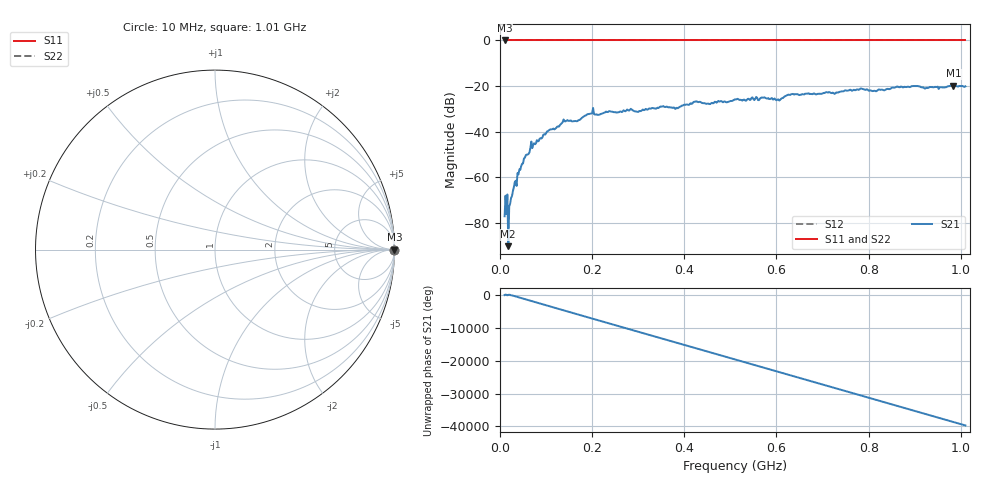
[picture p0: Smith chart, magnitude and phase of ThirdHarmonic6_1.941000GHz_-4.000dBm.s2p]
! 8/16/2025 11:22:47 PM
! C:\ANRITSUVNA\TEMP\TEMP.S2P
! CHANNEL.1
! TR.MEASUREMENT
! RAW.DATA
! RF.CORRECTION.OFF
! AVERAGING.OFF
! IF.BANDWIDTH: 5KHZ
! SWEEPTYPE:  FREQ.SWEEP(Linear)
! Reference Plane Port Info
! PORT:  PORT1  PORT2
! DISTANCE:  0  m  0  m
! TIME:  0  s  0  s
! PHASE.OFFSET:  0  deg.  0  deg.
! LOSS:  0  dB  0  dB
! REF.LOSS:  0  dB  0  dB
! REF.FREQ:  0  Hz  0  Hz
! Power Info
! POWER:  -20  dBm  -20  dBm
! EFF.POWER:  -20  dBm  -20  dBm
! SOURCE.ATTEN:  0  dB  0  dB
! TEST.ATTEN:  0  dB  0  dB
# GHZ S RI R 50.0
! FREQ.GHZ  S11RE  S11IM  S21RE  S21IM  S12RE  S12IM  S22RE  S22IM
!; PortSelection: Port_12
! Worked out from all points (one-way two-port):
!   501 points, 10 MHz to 1.01 GHz, reference 50 ohm
!   highest |S21| = -19.83 dB at 984 MHz (marker M1); lowest = -90.4 dB at 18 MHz (marker M2)
!   lowest |S11| = 0.0 dB at 10 MHz (marker M3)
!   |S11| at or under -10 dB: nowhere
!   |S22| runs from 0.0 to 0.0 dB; largest |S21 - S12| = 1.1
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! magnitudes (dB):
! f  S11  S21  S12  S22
! 10 MHz  0.0  -77.2  0.0  0.0
! 12 MHz  0.0  -68.2  0.0  0.0
! 18 MHz  0.0  -90.4  0.0  0.0
! 22 MHz  0.0  -71.7  0.0  0.0
! 28 MHz  0.0  -66.3  0.0  0.0
! 42 MHz  0.0  -56.6  0.0  0.0
! 70 MHz  0.0  -47.3  0.0  0.0
! 138 MHz  0.0  -34.7  0.0  0.0
! 178 MHz  0.0  -34.0  0.0  0.0
! 198 MHz  0.0  -32.1  0.0  0.0
! 212 MHz  0.0  -32.7  0.0  0.0
! 344 MHz  0.0  -29.7  0.0  0.0
! 384 MHz  0.0  -29.6  0.0  0.0
! 424 MHz  0.0  -26.9  0.0  0.0
! 452 MHz  0.0  -27.8  0.0  0.0
! 510 MHz  0.0  -25.8  0.0  0.0
! 604 MHz  0.0  -25.9  0.0  0.0
! 630 MHz  0.0  -23.9  0.0  0.0
! 678 MHz  0.0  -23.6  0.0  0.0
! 844 MHz  0.0  -21.4  0.0  0.0
! 984 MHz  0.0  -19.8  0.0  0.0
! 1.01 GHz  0.0  -20.2  0.0  0.0
